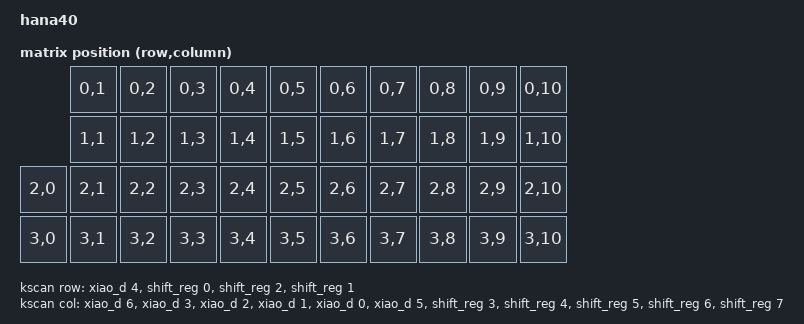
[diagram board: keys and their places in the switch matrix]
/*
 * Copyright (c) 2022 fauh45
 *
 * SPDX-License-Identifier: MIT
 */

#include <dt-bindings/zmk/matrix_transform.h>

&xiao_spi {
	status = "okay";

	cs-gpios = <&xiao_d 7 GPIO_ACTIVE_LOW>;
	shift_reg: 595@0 {
		compatible = "zmk,gpio-595";
		status = "okay";
		gpio-controller;
		spi-max-frequency = <200000>;
		reg = <0>;
		label = "4HC595";
		#gpio-cells = <2>;
		ngpios = <8>;
	};
};


&xiao_serial { status = "disabled"; };

/ {
	model = "hana40";
	compatible = "fauh45,hana40";

	chosen {
		zmk,kscan = &kscan;
		zmk,matrix_transform = &transform;
	};

	transform: transform {
		compatible = "zmk,matrix-transform";
		rows = <4>;
		columns = <11>;

		map = <
            RC(0,1) RC(0,2) RC(0,3) RC(0,4) RC(0,5) RC(0,6) RC(0,7) RC(0,8) RC(0,9) RC(0,10)
            RC(1,1) RC(1,2) RC(1,3) RC(1,4) RC(1,5) RC(1,6) RC(1,7) RC(1,8) RC(1,9) RC(1,10)
    RC(2,0) RC(2,1) RC(2,2) RC(2,3) RC(2,4) RC(2,5) RC(2,6) RC(2,7) RC(2,8) RC(2,9) RC(2,10)
    RC(3,0) RC(3,1) RC(3,2) RC(3,3) RC(3,4) RC(3,5) RC(3,6) RC(3,7) RC(3,8) RC(3,9) RC(3,10)
	>;
	};
	
	kscan: kscan {
		compatible = "zmk,kscan-gpio-matrix";
		label = "KSCAN";

		debounce-press-ms = <1>;
		debounce-release-ms = <5>;

		diode-direction = "col2row";

		col-gpios
			= <&xiao_d 6 (GPIO_ACTIVE_HIGH)> // Col10 (0)
			, <&xiao_d 3 (GPIO_ACTIVE_HIGH)> // Col0 (1)
			, <&xiao_d 2 (GPIO_ACTIVE_HIGH)> // Col1 (2)
            , <&xiao_d 1 (GPIO_ACTIVE_HIGH)> // Col2 (3)
            , <&xiao_d 0 (GPIO_ACTIVE_HIGH)> // Col3 (4)
            , <&xiao_d 5 (GPIO_ACTIVE_HIGH)> // Col4 (5)
			, <&shift_reg 3 (GPIO_ACTIVE_HIGH)> // Col5 (6)
			, <&shift_reg 4 (GPIO_ACTIVE_HIGH)> // Col6 (7)
			, <&shift_reg 5 (GPIO_ACTIVE_HIGH)> // Col7 (8)
			, <&shift_reg 6 (GPIO_ACTIVE_HIGH)> // Col8 (9)
			, <&shift_reg 7 (GPIO_ACTIVE_HIGH)> // Col9 (10)
			;
		row-gpios
			= <&xiao_d 4 (GPIO_ACTIVE_HIGH | GPIO_PULL_DOWN)> // Row0
			, <&shift_reg 0 (GPIO_ACTIVE_HIGH)> // Row1
			, <&shift_reg 2 (GPIO_ACTIVE_HIGH)> // Row2	
			, <&shift_reg 1 (GPIO_ACTIVE_HIGH)> // Row3
			;
	};
};
